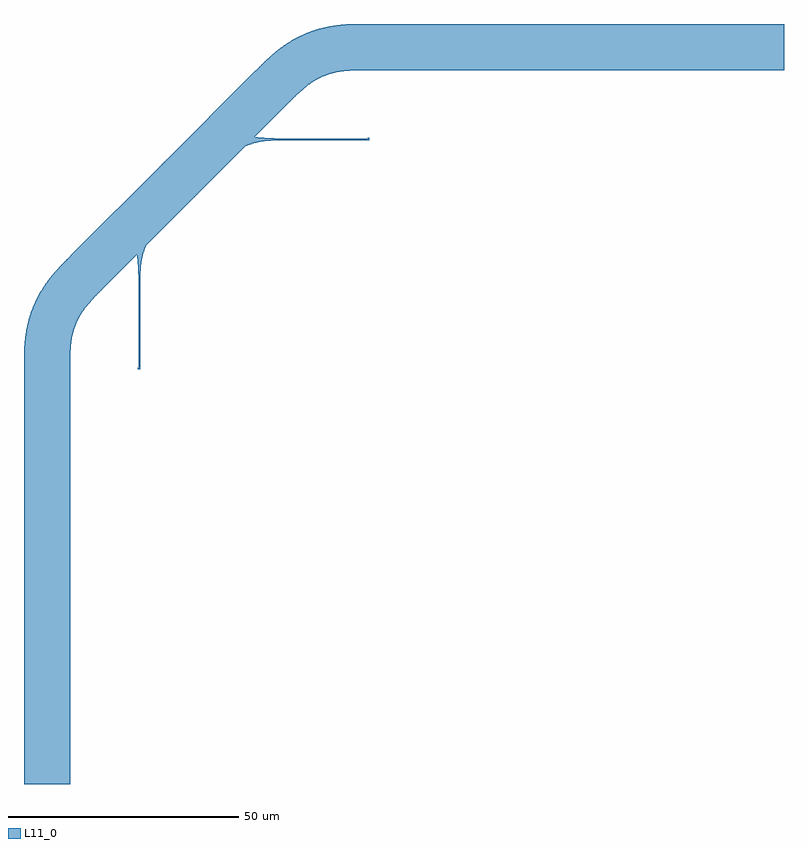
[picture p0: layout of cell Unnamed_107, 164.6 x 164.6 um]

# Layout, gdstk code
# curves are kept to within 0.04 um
from math import pi, radians
import gdstk
lib = gdstk.Library(unit=1e-6, precision=1e-09)
def P(c, l, *ps):  # polygons
    for p in ps: c.add(gdstk.Polygon(p, *l))
L11_0 = (11, 0)

unnamed_110 = lib.new_cell('Unnamed_110')
P(unnamed_110, L11_0, [(20.787,-8.81),(19.932,-8),(18.877,-7.12),(17.756,-6.324),(16.746,-5.722),(15.697,-5.204),(14.619,-4.781),(12.602,-4.266),(10.763,-4.061),(8.793,-4.072),(7.249,-4.218),(2.812,-4.843),(0,-5),(0,5),(1.61,4.943),(3.078,4.788),(4.592,4.519),(5.914,4.187),(7.244,3.754),(8.783,3.114),(10.053,2.456),(11.256,1.711),(12.389,0.894),(13.451,0.019),(14.602,-1.057),(15.666,-2.173),(19.344,-6.633),(21.069,-8.527)])

unnamed_111 = lib.new_cell('Unnamed_111')
P(unnamed_111, L11_0, [(0,-0.2),(0,0.2),(19.8,0.2),(19.8,0.4),(20.2,0.4),(20.2,-0.2)])

unnamed_109 = lib.new_cell('Unnamed_109')
P(unnamed_109, L11_0, [(127.393,-32.204),(106.844,-11.656),(104.622,-9.528),(103.118,-8.274),(101.507,-7.187),(99.798,-6.327),(98.135,-5.732),(96.703,-5.388),(95.332,-5.186),(93.681,-5.058),(91.531,-5.004),(0,-5),(0,5),(92.025,4.992),(94.615,4.906),(96.9,4.698),(99.04,4.342),(100.944,3.865),(103.489,2.969),(104.832,2.365),(106.138,1.684),(108.413,0.244),(110.796,-1.64),(113.614,-4.286),(134.464,-25.133)])

unnamed_108 = lib.new_cell('Unnamed_108')
unnamed_108.add(gdstk.Reference(unnamed_110, (130.928,-28.669), rotation=radians(315)))
unnamed_108.add(gdstk.Reference(unnamed_111, (139.597,-49.597), rotation=3*pi/2))
unnamed_108.add(gdstk.Reference(unnamed_109, (0,0)))

unnamed_107 = lib.new_cell('Unnamed_107')
unnamed_107.add(gdstk.Reference(unnamed_108, (0,0), rotation=pi, x_reflection=True))
unnamed_107.add(gdstk.Reference(unnamed_108, (-159.597,-159.597), rotation=pi/2))

lib.write_gds('Unnamed_107.gds')
